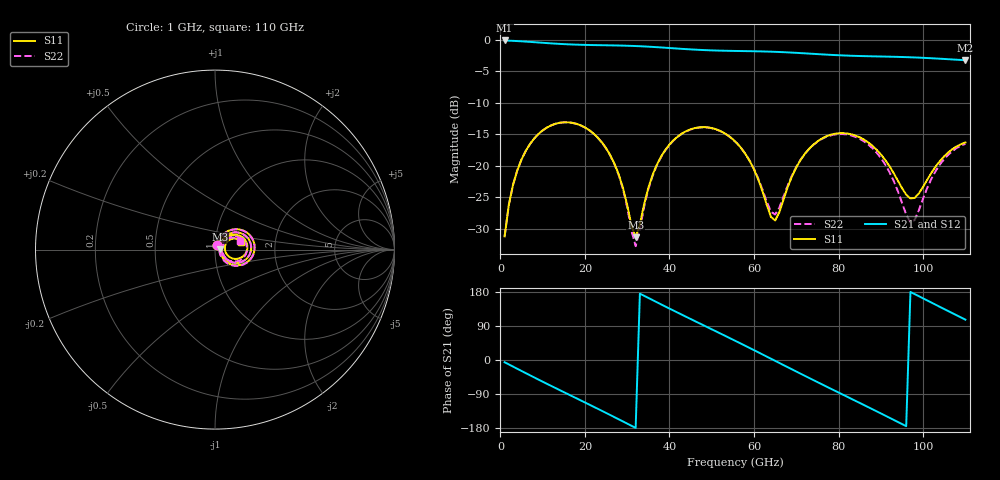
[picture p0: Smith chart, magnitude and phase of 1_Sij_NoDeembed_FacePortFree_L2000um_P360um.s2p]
! Touchstone file exported from HFSS 2024.2.0
!  File:  C:/Users/vaintrug/Documents/Ansoft_Workspace/Comparaison_Calculs_HFSS/1_VarPort.aedt
!  Generated:  03:22:19 PM Jan 21, 2025
!  Design:  1_NoDeembed_FacePortFree
!  Project:  1_VarPort
!  Setup:  Setup1
!  Solution:  Sweep
! Variables:
!  $Lenght = 2000um
!  $PortSize = 360um
!  Gap = 30um
!  Th = 2um
!  X_centralStrip = 20um
!  X_masse = 200um
!  Y_Sub = 2mm
!  Z_Box = 400um
!  Z_Sub = 200um
# GHz S MA R 50.000000
! Terminal data exported
! Port[1] = 1
! Port[2] = 2
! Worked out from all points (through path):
!   110 points, 1 GHz to 110 GHz, reference 50 ohm
!   highest |S21| = -0.13 dB at 1 GHz (marker M1); lowest = -3.3 dB at 110 GHz (marker M2)
!   group delay of S21, straight-line fit = 15.4 ps
!   lowest |S11| = -31.3 dB at 32 GHz (marker M3), VSWR 1.06, Z = 52.8 + j0.205 ohm
!   |S11| at or under -10 dB: start of sweep to end of sweep
!   |S22| runs from -32.7 to -13.1 dB; largest |S21 - S12| = 2e-15
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1  0.02754 61.2  0.9854 -5.9  0.9854 -5.9  0.02755 61.1
! Gamma 5.89306823433577 49.788990499061 5.95034083477599 49.8323708745218
! Port Impedance 50 0 50 0
3  0.07079 65.8  0.9783 -17.4  0.9783 -17.4  0.0708 65.6
7  0.1487 48.9  0.9601 -40.3  0.9601 -40.3  0.1487 48.6
13  0.2151 18.3  0.9299 -73.8  0.9299 -73.8  0.215 17.6
20  0.2014 -16.6  0.9087 -112.0  0.9087 -112.0  0.201 -17.7
27  0.1035 -45.6  0.8999 -150.9  0.8999 -150.9  0.1026 -48.2
32  0.02709 4.1  0.8899 -179.2  0.8899 -179.2  0.02304 3.5
35  0.06685 53.1  0.8799 163.8  0.8799 163.8  0.06517 55.5
38  0.1181 48.2  0.8674 146.9  0.8674 146.9  0.117 49.2
43  0.1807 27.8  0.8452 119.2  0.8452 119.2  0.1798 28.0
47  0.2017 9.7  0.8303 97.3  0.8303 97.3  0.2009 9.6
51  0.1949 -8.2  0.8201 75.6  0.8201 75.6  0.1943 -8.5
56  0.1504 -29.0  0.8132 48.2  0.8132 48.2  0.1503 -29.1
61  0.07787 -39.8  0.8079 20.3  0.8079 20.3  0.07931 -38.9
65  0.03682 8.5  0.8006 -2.3  0.8006 -2.3  0.0411 5.6
70  0.09718 45.3  0.786 -30.5  0.786 -30.5  0.09813 39.9
74  0.1467 33.9  0.7717 -52.8  0.7717 -52.8  0.1461 28.8
83  0.1777 -1.9  0.7454 -102.3  0.7454 -102.3  0.1739 -8.4
92  0.09969 -27.4  0.7329 -152.2  0.7329 -152.2  0.08971 -39.2
97  0.05508 -0.8  0.7248 179.6  0.7248 179.6  0.03566 -4.3
104  0.1093 32.7  0.706 140.0  0.706 140.0  0.1027 39.1
110  0.1531 15.6  0.6871 106.5  0.6871 106.5  0.1494 18.0
